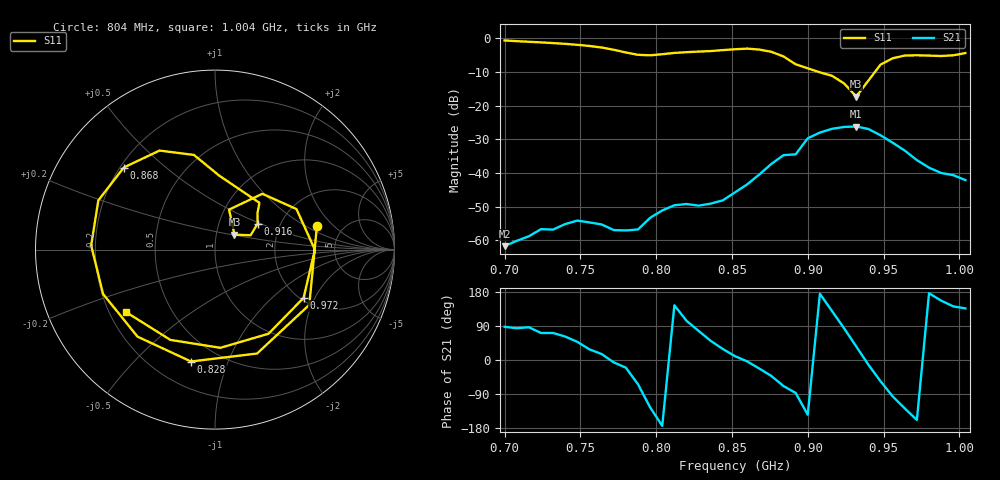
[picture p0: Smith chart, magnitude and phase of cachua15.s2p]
# Hz S RI R 50
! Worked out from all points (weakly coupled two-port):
!   39 points, 700 MHz to 1.004 GHz, reference 50 ohm
!   highest |S21| = -26.19 dB at 932 MHz (marker M1); lowest = -61.8 dB at 700 MHz (marker M2)
!   lowest |S11| = -17.3 dB at 932 MHz (marker M3), VSWR 1.32, Z = 61.2 + j10.4 ohm
!   |S11| at or under -10 dB: 907.5 MHz to 944.3 MHz (36.81 MHz wide, 3.98 % of centre)
!   S12 and S22 are empty: the file has one direction only
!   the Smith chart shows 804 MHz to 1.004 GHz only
!   S11 on the Smith chart (normalised r, x): 804 MHz: 3.24, +1.28; 828 MHz: 0.35, -0.74; 868 MHz: 0.21, +0.37; 916 MHz: 1.53, +0.48; 972 MHz: 2.08, -1.64; 1.004 GHz: 0.27, -0.29
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7e8  0.7678 0.5305  3.39e-05 0.000815  0 0  0 0
7.24e8  0.8318 -0.2661  0.000469 0.00138  0 0  0 0
7.4e8  0.4451 -0.7014  0.000822 0.00153  0 0  0 0
7.56e8  -0.1993 -0.7467  0.00162 0.000863  0 0  0 0
7.72e8  -0.6537 -0.1838  0.00141 -0.000155  0 0  0 0
7.8e8  -0.5711 0.2362  0.00131 -0.000483  0 0  0 0
7.88e8  -0.213 0.5301  0.000633 -0.0013  0 0  0 0
7.96e8  0.2679 0.4926  -0.00123 -0.00176  0 0  0 0
8.04e8  0.5678 0.1309  -0.00276 -0.000295  0 0  0 0
8.2e8  0.2345 -0.579  -0.000808 0.00336  0 0  0 0
8.28e8  -0.1338 -0.6235  0.000744 0.00318  0 0  0 0
8.52e8  -0.6898 0.023  0.00506 0.000903  0 0  0 0
8.68e8  -0.5083 0.4574  0.00876 -0.00362  0 0  0 0
8.84e8  -0.1172 0.5273  0.00666 -0.0171  0 0  0 0
9.08e8  0.2368 0.2052  -0.0397 0.00362  0 0  0 0
9.16e8  0.2377 0.1453  -0.0287 0.0351  0 0  0 0
9.32e8  0.1084 0.0832  0.0398 0.0286  0 0  0 0
9.4e8  0.0784 0.2227  0.044 -0.00972  0 0  0 0
9.56e8  0.4539 0.2259  -0.00289 -0.028  0 0  0 0
9.72e8  0.4935 -0.2689  -0.0144 -0.00577  0 0  0 0
9.88e8  0.03 -0.5472  -0.00917 0.00396  0 0  0 0
1.004e9  -0.4966 -0.3476  -0.00565 0.00543  0 0  0 0
